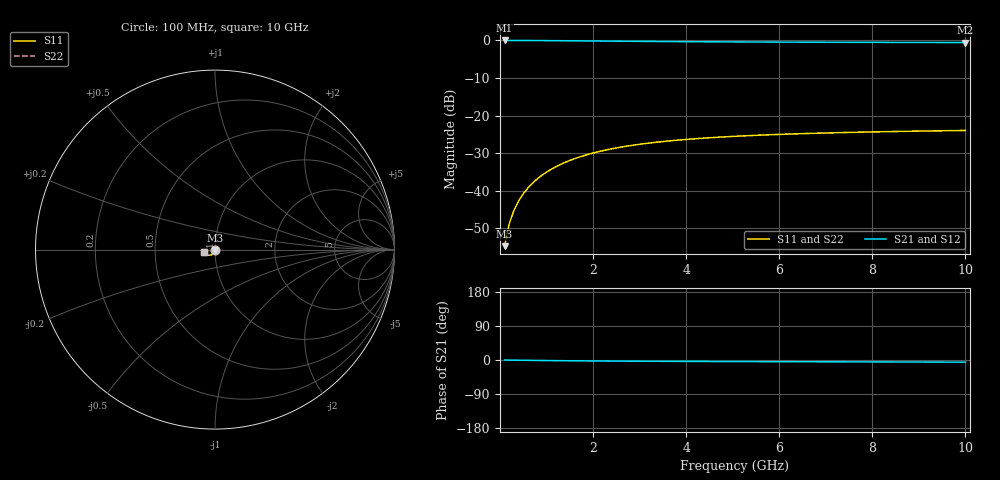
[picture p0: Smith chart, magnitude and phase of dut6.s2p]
! Touchstone file exported from HFSS 2024.1.0
!  File:  C:/UserFiles/LocalFiles/RDL_TSV_Batchsim/temp_TSV1_6_1779367705.aedt
!  Generated:  08:55:00 PM May 21, 2026
!  Design:  TSV1
!  Project:  temp_TSV1_6_1779367705
!  Setup:  Setup1
!  Solution:  Sweep
! Variables:
!  dtsv = 13.36um
!  hbump = 3um
!  htsv = 87.99um
!  lrdl = 252.1521522um
!  p = 40
!  p1 = 50um
!  t = 500um
!  trdl = 3um
!  wrdl = 24.89489489um
# GHz S MA R 50.000000
! Terminal data exported
! Port[1] = TSV22_T1
! Port[2] = TSV22_T2
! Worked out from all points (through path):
!   100 points, 100 MHz to 10 GHz, reference 50 ohm
!   highest |S21| = 0.00 dB at 100 MHz (marker M1); lowest = -0.6 dB at 10 GHz (marker M2)
!   lowest |S11| = -54.7 dB at 100 MHz (marker M3), VSWR 1.00, Z = 50 - j0.183 ohm
!   |S11| at or under -10 dB: start of sweep to end of sweep
!   |S22| runs from -54.7 to -24.0 dB; largest |S21 - S12| = 4e-15
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0.1  0.001833 -88.8  0.9998 -0.2  0.9998 -0.2  0.001833 -88.8
! Gamma 0 0 0 0
! Port Impedance 50 0 50 0
0.2  0.003663 -91.8  0.9997 -0.3  0.9997 -0.3  0.003663 -91.8
0.3  0.005491 -93.9  0.9994 -0.5  0.9994 -0.5  0.005491 -93.9
0.4  0.007309 -95.9  0.999 -0.6  0.999 -0.6  0.007309 -95.9
0.5  0.009112 -97.7  0.9985 -0.8  0.9985 -0.8  0.009112 -97.7
0.6  0.01089 -99.5  0.9979 -0.9  0.9979 -0.9  0.01089 -99.5
0.7  0.01264 -101.3  0.9972 -1.0  0.9972 -1.0  0.01264 -101.3
0.8  0.01436 -103.0  0.9965 -1.2  0.9965 -1.2  0.01436 -103.0
0.9  0.01605 -104.7  0.9957 -1.3  0.9957 -1.3  0.01605 -104.7
1.1  0.01931 -107.9  0.9938 -1.6  0.9938 -1.6  0.01931 -107.9
1.4  0.02387 -112.5  0.9907 -1.9  0.9907 -1.9  0.02387 -112.5
1.6  0.02668 -115.4  0.9885 -2.1  0.9885 -2.1  0.02668 -115.4
1.8  0.02931 -118.2  0.9862 -2.3  0.9862 -2.3  0.02931 -118.2
2.1  0.03292 -122.0  0.9826 -2.6  0.9826 -2.6  0.03292 -122.0
2.5  0.03713 -126.7  0.978 -2.9  0.978 -2.9  0.03713 -126.7
2.9  0.04073 -130.8  0.9737 -3.2  0.9737 -3.2  0.04073 -130.8
3.4  0.04452 -135.4  0.9687 -3.4  0.9687 -3.4  0.04452 -135.4
4.2  0.04927 -141.5  0.9619 -3.8  0.9619 -3.8  0.04927 -141.5
5.1  0.05324 -147.1  0.9557 -4.1  0.9557 -4.1  0.05324 -147.1
6.7  0.05806 -154.7  0.9478 -4.6  0.9478 -4.6  0.05806 -154.7
8.4  0.06134 -160.8  0.9421 -5.2  0.9421 -5.2  0.06134 -160.8
10  0.06342 -165.4  0.9384 -5.7  0.9384 -5.7  0.06342 -165.4
